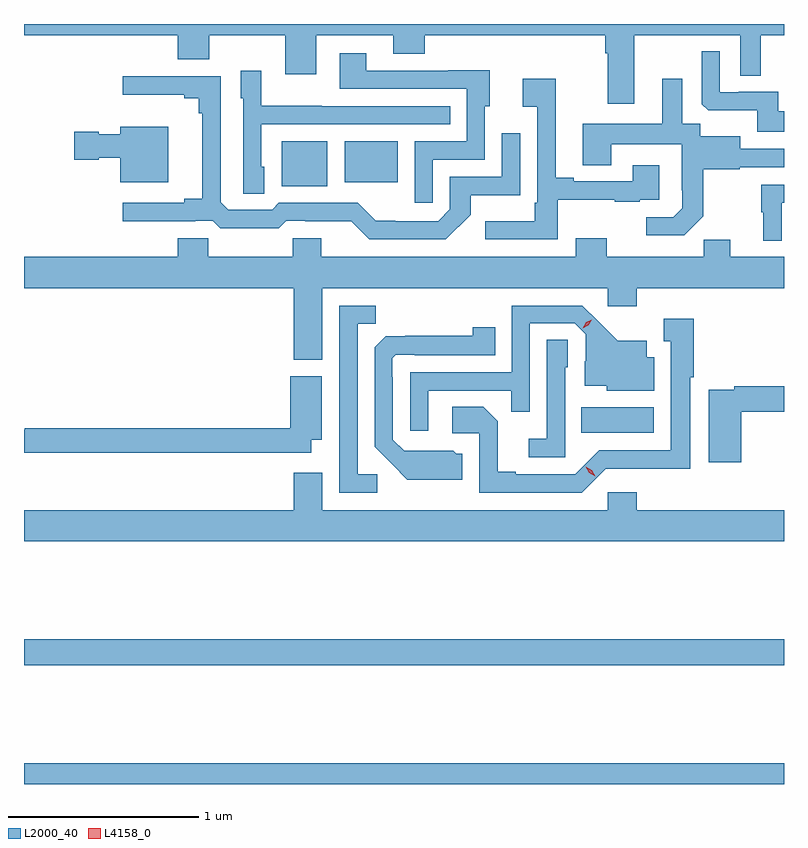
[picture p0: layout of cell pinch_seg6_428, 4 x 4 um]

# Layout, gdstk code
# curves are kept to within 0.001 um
import gdstk
lib = gdstk.Library(unit=1e-6, precision=1e-09)
def R(c, l, rs):  # rectangles x0, y0, x1, y1
    for r in rs: c.add(gdstk.rectangle(r[:2], r[2:], *l))
def P(c, l, *ps):  # polygons
    for p in ps: c.add(gdstk.Polygon(p, *l))
L2000_40 = (2000, 40)
L4158_0 = (4158, 0)

pinch_seg6_428 = lib.new_cell('pinch_seg6_428')
R(pinch_seg6_428, L2000_40, [(704.753,930.074,708.753,930.184), (704.753,930.7,708.753,930.836), (707.686,931.922,708.067,932.056), (706.109,933.221,706.348,933.457), (706.442,933.242,706.72,933.457)])
P(pinch_seg6_428, L2000_40, [(707.965,934.016),(708.522,934.016),(708.522,933.802),(708.631,933.802),(708.631,934.016),(708.753,934.016),(708.753,934.074),(704.753,934.074),(704.753,934.016),(705.563,934.016),(705.563,933.888),(705.727,933.888),(705.727,934.016),(706.127,934.016),(706.127,933.81),(706.291,933.81),(706.291,934.016),(706.697,934.016),(706.697,933.917),(706.861,933.917),(706.861,934.016),(707.813,934.016),(707.813,933.92),(707.825,933.92),(707.825,933.654),(707.965,933.654)],
  [(708.753,933.616),(708.722,933.616),(708.722,933.717),(708.514,933.717),(708.514,933.714),(708.414,933.714),(708.414,933.931),(708.321,933.931),(708.321,933.651),(708.353,933.62),(708.612,933.62),(708.612,933.507),(708.753,933.507)],
  [(706.905,933.36),(707.178,933.36),(707.178,933.642),(707.203,933.642),(707.203,933.83),(706.985,933.83),(706.985,933.828),(706.555,933.828),(706.555,933.919),(706.415,933.919),(706.415,933.732),(707.082,933.732),(707.082,933.456),(706.809,933.456),(706.809,933.132),(706.905,933.132)],
  [(706.018,933.324),(706.002,933.324),(706.002,933.546),(706.997,933.546),(706.997,933.642),(706.319,933.642),(706.319,933.643),(706.002,933.643),(706.002,933.829),(705.893,933.829),(705.893,933.684),(705.906,933.684),(705.906,933.181),(706.018,933.181)],
  [(707.103,933.071),(707.103,933.173),(707.364,933.173),(707.364,933.499),(707.268,933.499),(707.268,933.27),(706.995,933.27),(706.995,933.099),(706.932,933.036),(706.708,933.036),(706.708,933.038),(706.604,933.038),(706.509,933.132),(706.095,933.132),(706.059,933.096),(705.828,933.096),(705.789,933.135),(705.789,933.798),(705.273,933.798),(705.273,933.701),(705.596,933.701),(705.596,933.682),(705.673,933.682),(705.673,933.605),(705.692,933.605),(705.692,933.155),(705.596,933.155),(705.596,933.132),(705.273,933.132),(705.273,933.035),(705.653,933.035),(705.653,933.039),(705.747,933.039),(705.787,933),(706.095,933),(706.134,933.039),(706.234,933.039),(706.234,933.035),(706.475,933.035),(706.569,932.94),(706.972,932.94)],
  [(708.327,933.063),(708.327,933.309),(708.519,933.309),(708.519,933.321),(708.753,933.321),(708.753,933.417),(708.523,933.417),(708.523,933.484),(708.312,933.484),(708.312,933.548),(708.217,933.548),(708.217,933.787),(708.113,933.787),(708.113,933.55),(707.693,933.55),(707.693,933.331),(707.845,933.331),(707.845,933.44),(708.216,933.44),(708.216,933.199),(708.218,933.199),(708.218,933.104),(708.171,933.057),(708.027,933.057),(708.027,932.963),(708.227,932.963)],
  [(707.563,933.149),(707.861,933.149),(707.861,933.138),(707.993,933.138),(707.993,933.15),(708.097,933.15),(708.097,933.331),(707.957,933.331),(707.957,933.246),(707.647,933.246),(707.647,933.265),(707.551,933.265),(707.551,933.787),(707.379,933.787),(707.379,933.638),(707.454,933.638),(707.454,933.133),(707.442,933.133),(707.442,933.037),(707.181,933.037),(707.181,932.94),(707.563,932.94)],
  [(705.511,933.532),(705.26,933.532),(705.26,933.493),(705.147,933.493),(705.147,933.506),(705.018,933.506),(705.018,933.359),(705.147,933.359),(705.147,933.371),(705.26,933.371),(705.26,933.242),(705.511,933.242)],
  [(708.742,933.132),(708.753,933.132),(708.753,933.228),(708.633,933.228),(708.633,933.084),(708.644,933.084),(708.644,932.933),(708.742,932.933)],
  [(706.324,932.684),(707.826,932.684),(707.826,932.589),(707.978,932.589),(707.978,932.684),(708.753,932.684),(708.753,932.848),(708.469,932.848),(708.469,932.939),(708.331,932.939),(708.331,932.848),(707.821,932.848),(707.821,932.947),(707.657,932.947),(707.657,932.848),(706.318,932.848),(706.318,932.946),(706.168,932.946),(706.168,932.848),(705.723,932.848),(705.723,932.946),(705.563,932.946),(705.563,932.848),(704.753,932.848),(704.753,932.684),(706.172,932.684),(706.172,932.306),(706.324,932.306)],
  [(706.881,932.145),(707.317,932.145),(707.317,932.032),(707.415,932.032),(707.415,932.499),(707.652,932.499),(707.709,932.442),(707.709,932.3),(707.705,932.3),(707.705,932.171),(707.82,932.171),(707.82,932.144),(708.07,932.144),(708.07,932.32),(708.031,932.32),(708.031,932.407),(707.879,932.407),(707.692,932.592),(707.319,932.592),(707.319,932.241),(706.785,932.241),(706.785,931.932),(706.881,931.932)],
  [(706.612,931.704),(706.509,931.704),(706.509,932.497),(706.605,932.497),(706.605,932.592),(706.413,932.592),(706.413,931.608),(706.612,931.608)],
  [(707.814,931.734),(708.259,931.733),(708.259,932.215),(708.277,932.215),(708.277,932.524),(708.119,932.524),(708.119,932.403),(708.158,932.403),(708.158,931.83),(707.781,931.83),(707.655,931.704),(707.341,931.704),(707.341,931.717),(707.247,931.717),(707.247,931.984),(707.171,932.06),(707.007,932.06),(707.007,931.92),(707.148,931.92),(707.148,931.608),(707.688,931.608)],
  [(707.059,931.812),(707.028,931.812),(707.012,931.828),(706.755,931.827),(706.695,931.887),(706.695,932.216),(706.692,932.216),(706.692,932.316),(706.71,932.334),(706.81,932.334),(706.81,932.331),(707.234,932.331),(707.234,932.479),(707.116,932.479),(707.116,932.432),(706.658,932.431),(706.599,932.372),(706.599,931.85),(706.771,931.676),(707.059,931.676)],
  [(707.601,932.268),(707.616,932.268),(707.616,932.411),(707.505,932.411),(707.505,931.891),(707.409,931.891),(707.409,931.794),(707.601,931.794)],
  [(706.264,931.886),(706.321,931.886),(706.321,932.221),(706.154,932.221),(706.154,931.946),(704.758,931.946),(704.758,931.939),(704.753,931.939),(704.753,931.818),(706.264,931.818)],
  [(708.527,932.032),(708.753,932.032),(708.753,932.168),(708.49,932.168),(708.49,932.148),(708.356,932.148),(708.356,931.767),(708.527,931.767)],
  [(708.753,931.516),(707.978,931.516),(707.978,931.609),(707.826,931.609),(707.826,931.516),(706.324,931.516),(706.324,931.711),(706.172,931.711),(706.172,931.516),(704.753,931.516),(704.753,931.352),(708.753,931.352)])
P(pinch_seg6_428, L4158_0, [(707.759,931.693),(707.727,931.712),(707.709,931.745),(707.709,931.745),(707.709,931.745),(707.741,931.726),(707.759,931.693),(707.759,931.693)],
  [(707.693,932.474),(707.693,932.474),(707.711,932.504),(707.742,932.518),(707.742,932.518),(707.742,932.518),(707.724,932.489),(707.694,932.474)])

lib.write_gds('pinch_seg6_428.gds')
